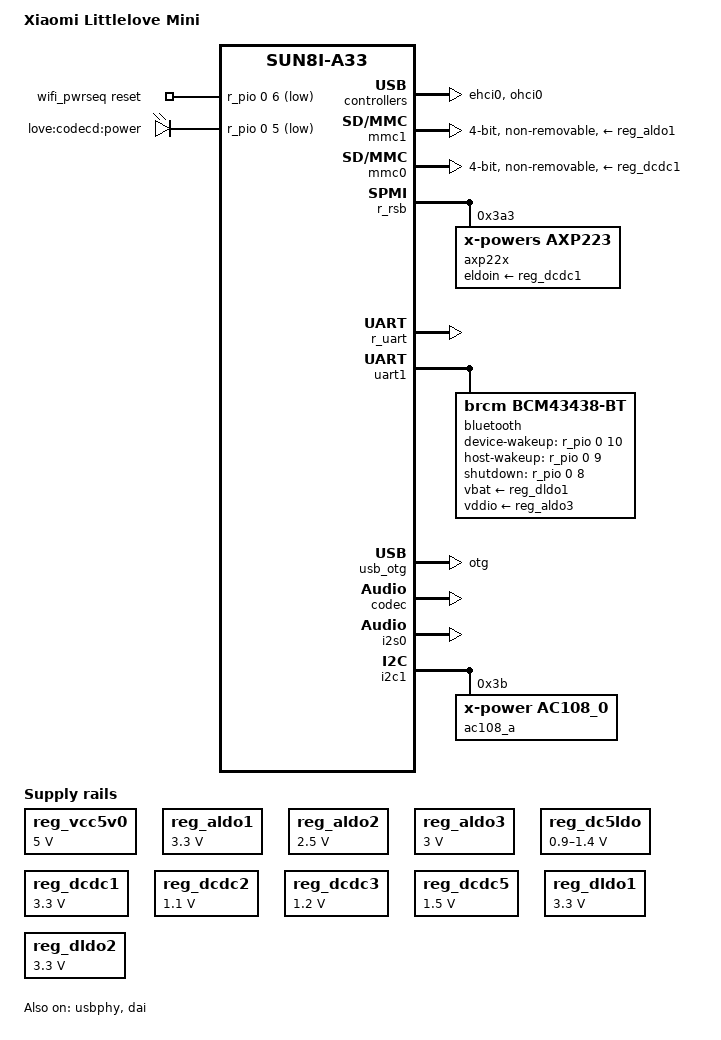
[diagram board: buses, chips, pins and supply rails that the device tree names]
/*
 * Copyright (C) 2020 HandsomeYingyan <handsomeyingyan@gmail.com>
 *
 * This file is dual-licensed: you can use it either under the terms
 * of the GPL or the X11 license, at your option. Note that this dual
 * licensing only applies to this file, and not this project as a
 * whole.
 *
 *  a) This file is free software; you can redistribute it and/or
 *     modify it under the terms of the GNU General Public License as
 *     published by the Free Software Foundation; either version 2 of the
 *     License, or (at your option) any later version.
 *
 *     This file is distributed in the hope that it will be useful,
 *     but WITHOUT ANY WARRANTY; without even the implied warranty of
 *     MERCHANTABILITY or FITNESS FOR A PARTICULAR PURPOSE.  See the
 *     GNU General Public License for more details.
 *
 * Or, alternatively,
 *
 *  b) Permission is hereby granted, free of charge, to any person
 *     obtaining a copy of this software and associated documentation
 *     files (the "Software"), to deal in the Software without
 *     restriction, including without limitation the rights to use,
 *     copy, modify, merge, publish, distribute, sublicense, and/or
 *     sell copies of the Software, and to permit persons to whom the
 *     Software is furnished to do so, subject to the following
 *     conditions:
 *
 *     The above copyright notice and this permission notice shall be
 *     included in all copies or substantial portions of the Software.
 *
 *     THE SOFTWARE IS PROVIDED "AS IS", WITHOUT WARRANTY OF ANY KIND,
 *     EXPRESS OR IMPLIED, INCLUDING BUT NOT LIMITED TO THE WARRANTIES
 *     OF MERCHANTABILITY, FITNESS FOR A PARTICULAR PURPOSE AND
 *     NONINFRINGEMENT. IN NO EVENT SHALL THE AUTHORS OR COPYRIGHT
 *     HOLDERS BE LIABLE FOR ANY CLAIM, DAMAGES OR OTHER LIABILITY,
 *     WHETHER IN AN ACTION OF CONTRACT, TORT OR OTHERWISE, ARISING
 *     FROM, OUT OF OR IN CONNECTION WITH THE SOFTWARE OR THE USE OR
 *     OTHER DEALINGS IN THE SOFTWARE.
 */
 
/dts-v1/;
#include "sun8i-a33.dtsi"
#include <dt-bindings/gpio/gpio.h>


/ {
	model = "Xiaomi Littlelove Mini";
	compatible = "xiaomi,littlelove-mini","allwinner,sun8i-a33";

	aliases {
		i2c1 = &i2c1;
		serial0 = &r_uart;
		serial1 = &uart1;
	};

	chosen {
		stdout-path = "serial0:115200n8";
	};

	reg_vcc5v0: vcc5v0 {
		compatible = "regulator-fixed";
		regulator-name = "vcc5v0";
		regulator-min-microvolt = <5000000>;
		regulator-max-microvolt = <5000000>;
	};
	
	wifi_pwrseq: wifi_pwrseq {
		compatible = "mmc-pwrseq-simple";
		reset-gpios = <&r_pio 0 6 GPIO_ACTIVE_LOW>; /* PL06 */
		clocks = <&rtc 1>;
		clock-names = "ext_clock";
	};

	leds {
		compatible = "gpio-leds";

		codecd {
			label = "love:codecd:power";
			gpios = <&r_pio 0 5 GPIO_ACTIVE_LOW>;
			default-state = "on";
		};
	};
	
	sound1: sound@1 {
		compatible = "simple-audio-card";
		simple-audio-card,format = "dsp_a";
		simple-audio-card,name = "ac108-4mic-voicecard"; 
		status = "disabled";
		simple-audio-card,bitclock-master = <&codec_dai>;
		simple-audio-card,frame-master = <&codec_dai>;
		simple-audio-card,channels-playback-override = <4>;
		simple-audio-card,channels-capture-override  = <4>;

		cpu_dai: simple-audio-card,cpu {
			sound-dai = <&i2s0>;
			dai-tdm-slot-num     = <2>;
			dai-tdm-slot-width   = <32>;
			dai-tdm-slot-tx-mask = <1 1 0 0>;
			dai-tdm-slot-rx-mask = <1 1 0 0>;
			};

		codec_dai: simple-audio-card,codec {
			sound-dai = <&ac108_a>;
			clocks =  <&ac108_mclk>;
		};
	};
	
};

&ehci0 {
	status = "okay";
};

&ohci0 {
	status = "okay";
};


&cpu0 {
	cpu-supply = <&reg_dcdc3>;
};

&cpu0_opp_table {
	opp-1104000000 {
		opp-hz = /bits/ 64 <1104000000>;
		opp-microvolt = <1320000>;
		clock-latency-ns = <244144>; /* 8 32k periods */
	};

	opp-1200000000 {
		opp-hz = /bits/ 64 <1200000000>;
		opp-microvolt = <1320000>;
		clock-latency-ns = <244144>; /* 8 32k periods */
	};
};


&mmc1 {
	pinctrl-names = "default";
	pinctrl-0 = <&mmc1_pg_pins>;
	vmmc-supply = <&reg_aldo1>;
	mmc-pwrseq = <&wifi_pwrseq>;
	bus-width = <4>;
	non-removable;
	status = "okay";
};


&mmc0 {
	pinctrl-names = "default";
	pinctrl-0 = <&mmc0_pins>;
	vmmc-supply = <&reg_dcdc1>;
	bus-width = <4>;
	non-removable;
	status = "okay";
};




&ohci0 {
	status = "okay";
};

&r_rsb {
	status = "okay";

	axp22x: pmic@3a3 {
		compatible = "x-powers,axp223";
		reg = <0x3a3>;
		interrupt-parent = <&nmi_intc>;
		interrupts = <0 IRQ_TYPE_LEVEL_LOW>;
		eldoin-supply = <&reg_dcdc1>;
		x-powers,drive-vbus-en;
	};
};


#include "axp223.dtsi"

&ac_power_supply {
	status = "okay";
};


&reg_aldo1 {
	regulator-always-on;
	regulator-min-microvolt = <3300000>;
	regulator-max-microvolt = <3300000>;
	regulator-name = "vcc-io";
};

&reg_aldo2 {
	regulator-always-on;
	regulator-min-microvolt = <2500000>;
	regulator-max-microvolt = <2500000>;
	regulator-name = "vdd-dll";
};

&reg_aldo3 {
	regulator-always-on;
	regulator-min-microvolt = <3000000>;
	regulator-max-microvolt = <3000000>;
	regulator-name = "vcc-avcc";
};



&reg_dc5ldo {
	regulator-always-on;
	regulator-min-microvolt = <900000>;
	regulator-max-microvolt = <1400000>;
	regulator-name = "vdd-cpus";
};

&reg_dcdc1 {
	regulator-always-on;
	regulator-min-microvolt = <3300000>;
	regulator-max-microvolt = <3300000>;
	regulator-name = "vcc-3v3";
};

&reg_dcdc2 {
	regulator-always-on;
	regulator-min-microvolt = <1100000>;
	regulator-max-microvolt = <1100000>;
	regulator-name = "vdd-sys";
};

&reg_dcdc3 {
	regulator-always-on;
	regulator-min-microvolt = <1200000>;
	regulator-max-microvolt = <1200000>;
	regulator-name = "vdd-cpu";
};

&reg_dcdc5 {
	regulator-always-on;
	regulator-min-microvolt = <1500000>;
	regulator-max-microvolt = <1500000>;
	regulator-name = "vcc-dram";
};

&reg_drivevbus {
	regulator-name = "usb0-vbus";
	status = "okay";
};

&reg_dldo1 {
	regulator-always-on;
	regulator-min-microvolt = <3300000>;
	regulator-max-microvolt = <3300000>;
	regulator-name = "vcc-wifi0";
};

&reg_dldo2 {
	regulator-always-on;
	regulator-min-microvolt = <3300000>;
	regulator-max-microvolt = <3300000>;
	regulator-name = "vcc-wifi1";
};

&reg_rtc_ldo {
	regulator-name = "vcc-rtc";
};

&r_uart {
	pinctrl-names = "default";
	pinctrl-0 = <&r_uart_pins_a>;
	status = "okay";
};

&uart1 {
	pinctrl-names = "default";
	pinctrl-0 = <&uart1_pg_pins>, <&uart1_cts_rts_pg_pins>;
	uart-has-rtscts;
	status = "okay";

	bluetooth {
		compatible = "brcm,bcm43438-bt";
		clocks = <&rtc 1>;
		clock-names = "lpo";
		vbat-supply = <&reg_dldo1>;
		vddio-supply = <&reg_aldo3>;
		device-wakeup-gpios = <&r_pio 0 10 GPIO_ACTIVE_HIGH>; /* PL10 */
		host-wakeup-gpios = <&r_pio 0 9 GPIO_ACTIVE_HIGH>; /* PL9 */
		shutdown-gpios = <&r_pio 0 8 GPIO_ACTIVE_HIGH>; /* PL8 */
	};
};

&usb_otg {
	dr_mode = "otg";
	status = "okay";
};

&usb_power_supply {
	status = "okay";
};


&usbphy {
	usb0_id_det-gpios = <&pio 3 8 GPIO_ACTIVE_HIGH>; /* PD08 */
	usb0_vbus_power-supply = <&usb_power_supply>;
	usb0_vbus-supply = <&reg_drivevbus>;
	status = "okay";
};

//ac108 on i2c1 and i2s0 for recording 
//orginial codec for speaker

&sound {
	/* Board level jack widgets */
	simple-audio-card,widgets = "Microphone", "Microphone Jack",
				    "Headphone", "Headphone Jack";
	/* Board level routing. First 2 routes copied from SoC level */
	simple-audio-card,routing =
		"Left DAC", "AIF1 Slot 0 Left",
		"Right DAC", "AIF1 Slot 0 Right",
		"HP", "HPCOM",
		"Headphone Jack", "HP",
		"MIC1", "Microphone Jack",
		"Microphone Jack", "MBIAS";
	status = "okay";
};

&sound1 {
	status = "okay";
};

&dai {
	status = "okay";
};

&codec {
	status = "okay";
};

&i2s0 {
	#sound-dai-cells = <0>;
 	#address-cells = <1>;
 	#size-cells = <0>;
	pinctrl-0 = <&i2s0_pins_bclk &i2s0_pins_lrck &i2s0_pins_do0 &i2s0_pins_di>;
	pinctrl-names = "default";
	status = "okay";
};

&i2c1 {
	#address-cells = <1>;
	#size-cells = <0>;
	status = "okay";

	ac108_a: ac108@3b{
		compatible = "x-power,ac108_0";
		reg = <0x3b>;
		#sound-dai-cells = <0>;
		data-protocol = <0>;
	};
};

//todo spi and buttons
